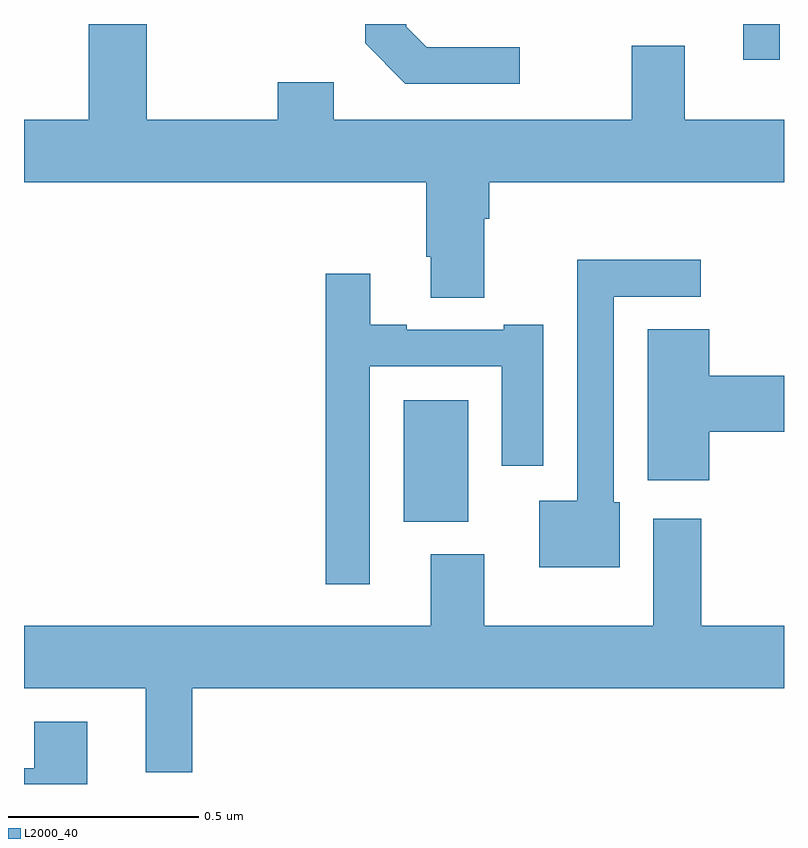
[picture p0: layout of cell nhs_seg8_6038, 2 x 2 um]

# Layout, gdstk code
import gdstk
lib = gdstk.Library(unit=1e-6, precision=1e-09)
def R(c, l, rs):  # rectangles x0, y0, x1, y1
    for r in rs: c.add(gdstk.rectangle(r[:2], r[2:], *l))
def P(c, l, *ps):  # polygons
    for p in ps: c.add(gdstk.Polygon(p, *l))
L2000_40 = (2000, 40)

nhs_seg8_6038 = lib.new_cell('nhs_seg8_6038')
R(nhs_seg8_6038, L2000_40, [(191.999,1131.59,192.169,1131.91), (192.893,1132.806,192.989,1132.9)])
P(nhs_seg8_6038, L2000_40, [(192.211,1132.388),(192.224,1132.388),(192.224,1132.484),(193,1132.484),(193,1132.648),(192.739,1132.648),(192.739,1132.843),(192.599,1132.843),(192.599,1132.648),(191.815,1132.648),(191.815,1132.747),(191.668,1132.747),(191.668,1132.648),(191.323,1132.648),(191.323,1132.9),(191.171,1132.9),(191.171,1132.648),(191,1132.648),(191,1132.484),(192.059,1132.484),(192.059,1132.288),(192.071,1132.288),(192.071,1132.18),(192.211,1132.18)],
  [(192.304,1132.839),(192.06,1132.839),(192.006,1132.893),(192.006,1132.9),(191.898,1132.9),(191.898,1132.849),(192.003,1132.743),(192.304,1132.743)],
  [(192.568,1131.642),(192.552,1131.642),(192.552,1132.182),(192.781,1132.182),(192.781,1132.28),(192.456,1132.28),(192.456,1131.646),(192.356,1131.646),(192.356,1131.47),(192.568,1131.47)],
  [(191.91,1131.999),(192.257,1131.999),(192.257,1131.738),(192.367,1131.738),(192.367,1132.108),(192.263,1132.108),(192.263,1132.095),(192.007,1132.095),(192.007,1132.108),(191.911,1132.108),(191.911,1132.243),(191.794,1132.243),(191.794,1131.426),(191.91,1131.426)],
  [(192.803,1131.827),(193,1131.827),(193,1131.974),(192.803,1131.974),(192.803,1132.097),(192.641,1132.097),(192.641,1131.699),(192.803,1131.699)],
  [(191.443,1131.152),(193,1131.152),(193,1131.316),(192.782,1131.316),(192.782,1131.598),(192.656,1131.598),(192.656,1131.316),(192.211,1131.316),(192.211,1131.505),(192.071,1131.505),(192.071,1131.316),(191,1131.316),(191,1131.152),(191.321,1131.152),(191.321,1130.931),(191.443,1130.931)],
  [(191.167,1131.064),(191.027,1131.064),(191.027,1130.941),(191,1130.941),(191,1130.9),(191.167,1130.9)])

lib.write_gds('nhs_seg8_6038.gds')
